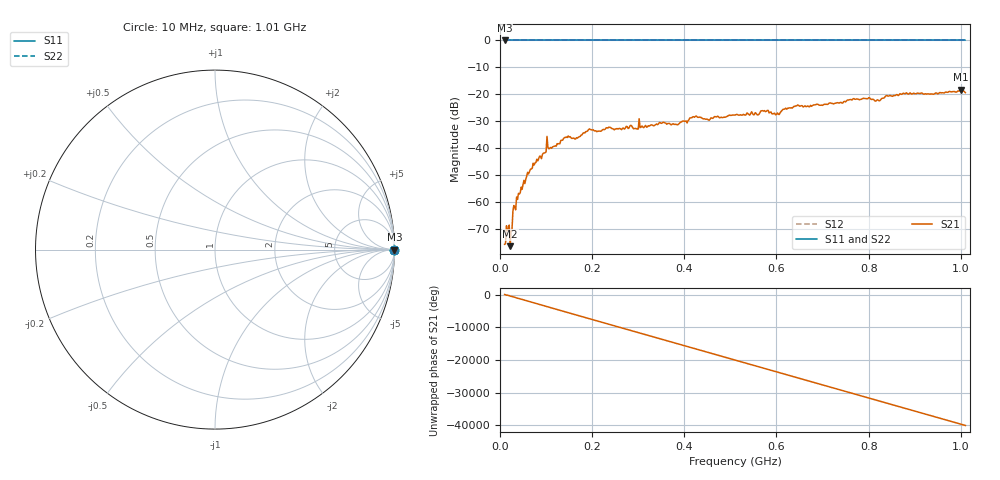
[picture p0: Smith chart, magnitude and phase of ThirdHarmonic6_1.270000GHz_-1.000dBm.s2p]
! 8/16/2025 1:44:11 PM
! C:\ANRITSUVNA\TEMP\TEMP.S2P
! CHANNEL.1
! TR.MEASUREMENT
! RAW.DATA
! RF.CORRECTION.OFF
! AVERAGING.OFF
! IF.BANDWIDTH: 5KHZ
! SWEEPTYPE:  FREQ.SWEEP(Linear)
! Reference Plane Port Info
! PORT:  PORT1  PORT2
! DISTANCE:  0  m  0  m
! TIME:  0  s  0  s
! PHASE.OFFSET:  0  deg.  0  deg.
! LOSS:  0  dB  0  dB
! REF.LOSS:  0  dB  0  dB
! REF.FREQ:  0  Hz  0  Hz
! Power Info
! POWER:  -20  dBm  -20  dBm
! EFF.POWER:  -20  dBm  -20  dBm
! SOURCE.ATTEN:  0  dB  0  dB
! TEST.ATTEN:  0  dB  0  dB
# GHZ S RI R 50.0
! FREQ.GHZ  S11RE  S11IM  S21RE  S21IM  S12RE  S12IM  S22RE  S22IM
!; PortSelection: Port_12
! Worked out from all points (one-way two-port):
!   501 points, 10 MHz to 1.01 GHz, reference 50 ohm
!   highest |S21| = -18.29 dB at 1 GHz (marker M1); lowest = -76.2 dB at 22 MHz (marker M2)
!   lowest |S11| = 0.0 dB at 10 MHz (marker M3)
!   |S11| at or under -10 dB: nowhere
!   |S22| runs from 0.0 to 0.0 dB; largest |S21 - S12| = 1.1
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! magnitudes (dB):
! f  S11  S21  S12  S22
! 10 MHz  0.0  -75.5  0.0  0.0
! 16 MHz  0.0  -70.3  0.0  0.0
! 22 MHz  0.0  -76.2  0.0  0.0
! 32 MHz  0.0  -61.8  0.0  0.0
! 40 MHz  0.0  -56.6  0.0  0.0
! 76 MHz  0.0  -45.4  0.0  0.0
! 106 MHz  0.0  -40.1  0.0  0.0
! 178 MHz  0.0  -35.0  0.0  0.0
! 196 MHz  0.0  -33.0  0.0  0.0
! 296 MHz  0.0  -32.7  0.0  0.0
! 344 MHz  0.0  -30.9  0.0  0.0
! 382 MHz  0.0  -31.1  0.0  0.0
! 510 MHz  0.0  -27.6  0.0  0.0
! 570 MHz  0.0  -26.0  0.0  0.0
! 602 MHz  0.0  -26.8  0.0  0.0
! 642 MHz  0.0  -24.2  0.0  0.0
! 678 MHz  0.0  -24.1  0.0  0.0
! 770 MHz  0.0  -21.8  0.0  0.0
! 820 MHz  0.0  -22.0  0.0  0.0
! 844 MHz  0.0  -20.6  0.0  0.0
! 1 GHz  0.0  -18.3  0.0  0.0
! 1.01 GHz  0.0  -19.4  0.0  0.0
